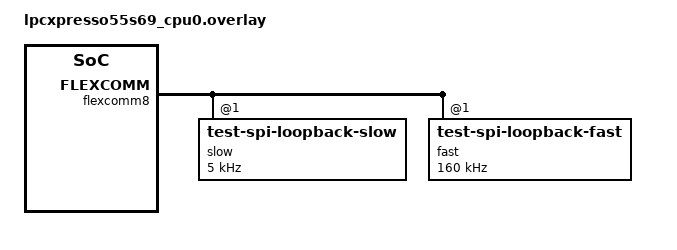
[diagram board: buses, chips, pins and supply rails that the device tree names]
/*
 * Copyright (c) 2022 Kumar Gala <galak@kernel.org>
 *
 * SPDX-License-Identifier: Apache-2.0
 */


&flexcomm8 {
	/delete-property/ cs-gpios;
	slow@1 {
		compatible = "test-spi-loopback-slow";
		reg = <1>;
		spi-max-frequency = <5000>;
	};
	fast@1 {
		compatible = "test-spi-loopback-fast";
		reg = <1>;
		spi-max-frequency = <160000>;
	};
};
